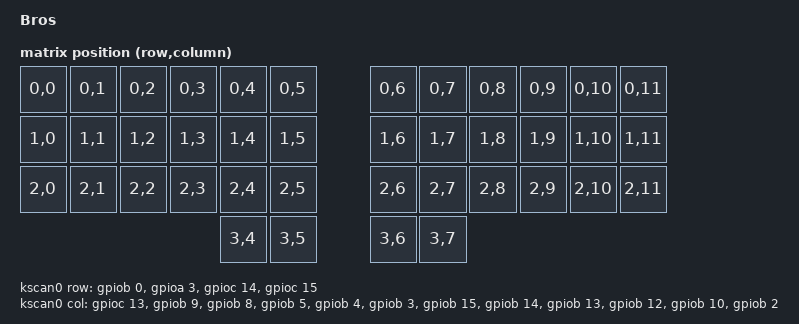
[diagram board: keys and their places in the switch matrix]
/*
 * Copyright (c) 2022 Bluebell Keyboards
 *
 * SPDX-License-Identifier: MIT
 */

/dts-v1/;
#include <st/f4/stm32f401Xc.dtsi>
#include <st/f4/stm32f401c(b-c)ux-pinctrl.dtsi>

#include <dt-bindings/zmk/matrix_transform.h>
#include <dt-bindings/led/led.h>

/ {
	model = "Bros";
	compatible = "bluebell,bros", "st,stm32f401";

	chosen {
		zephyr,sram = &sram0;
		zephyr,flash = &flash0;
		zephyr,code-partition = &code_partition;
		zephyr,console = &cdc_acm_uart;
		zmk,kscan = &kscan0;
		zmk,matrix_transform = &transform;
                zmk,underglow = &led_strip;
	};

	transform: transform {
		compatible = "zmk,matrix-transform";
		rows = <4>;
		columns = <12>;

		map = <
		RC(0,0) RC(0,1) RC(0,2) RC(0,3) RC(0,4) RC(0,5) RC(0,6) RC(0,7) RC(0,8) RC(0,9) RC(0,10) RC(0,11)
		RC(1,0) RC(1,1) RC(1,2) RC(1,3) RC(1,4) RC(1,5) RC(1,6) RC(1,7) RC(1,8) RC(1,9) RC(1,10) RC(1,11)
		RC(2,0) RC(2,1) RC(2,2) RC(2,3) RC(2,4) RC(2,5) RC(2,6) RC(2,7) RC(2,8) RC(2,9) RC(2,10) RC(2,11)
		                                RC(3,4) RC(3,5) RC(3,6) RC(3,7)
		>;
	};

	kscan0: kscan_0 {
		compatible = "zmk,kscan-gpio-matrix";
		label = "KSCAN";
		diode-direction = "col2row";

		col-gpios
		= <&gpioc 13 (GPIO_ACTIVE_HIGH)>
		, <&gpiob  9 (GPIO_ACTIVE_HIGH)>
		, <&gpiob  8 (GPIO_ACTIVE_HIGH)>
		, <&gpiob  5 (GPIO_ACTIVE_HIGH)>
		, <&gpiob  4 (GPIO_ACTIVE_HIGH)>
		, <&gpiob  3 (GPIO_ACTIVE_HIGH)>
		, <&gpiob 15 (GPIO_ACTIVE_HIGH)>
		, <&gpiob 14 (GPIO_ACTIVE_HIGH)>
		, <&gpiob 13 (GPIO_ACTIVE_HIGH)>
		, <&gpiob 12 (GPIO_ACTIVE_HIGH)>
		, <&gpiob 10 (GPIO_ACTIVE_HIGH)>
		, <&gpiob  2 (GPIO_ACTIVE_HIGH)>
		;
		row-gpios
		= <&gpiob  0 (GPIO_ACTIVE_HIGH | GPIO_PULL_DOWN)>
		, <&gpioa  3 (GPIO_ACTIVE_HIGH | GPIO_PULL_DOWN)>
		, <&gpioc 14 (GPIO_ACTIVE_HIGH | GPIO_PULL_DOWN)>
		, <&gpioc 15 (GPIO_ACTIVE_HIGH | GPIO_PULL_DOWN)>
		;
	};
};

&i2c1 {
	pinctrl-0 = <&i2c1_scl_pb6 &i2c1_sda_pb7>;
};

&spi1 {

	pinctrl-0 = <&spi1_sck_pa5 &spi1_miso_pa6 &spi1_mosi_pa7>;
	pinctrl-names = "default";
        status = "okay";

        led_strip: ws2812@0 {
                compatible = "worldsemi,ws2812-spi";
                label = "WS2812";

                /* SPI */
                reg = <0>;
                spi-max-frequency = <5250000>;

                /* WS2812 */
                chain-length = <48>; /* number of LEDs */
                spi-one-frame = <0x70>; /* make sure to configure this properly for your SOC */
                spi-zero-frame = <0x40>; /* make sure to configure this properly for your SOC */
                color-mapping = <LED_COLOR_ID_GREEN
                                 LED_COLOR_ID_RED
                                 LED_COLOR_ID_BLUE>;
        };
};

&usbotg_fs {
	pinctrl-0 = <&usb_otg_fs_dm_pa11 &usb_otg_fs_dp_pa12>;
	pinctrl-names = "default";
	status = "okay";
	cdc_acm_uart: cdc_acm_uart {
		compatible = "zephyr,cdc-acm-uart";
		label = "CDC_ACM_0";
	};
};

&rtc {
	status = "okay";
};

&dma2 {
	status = "okay";
};

&dma1 {
	status = "okay";
};

&clk_hse {
	status = "okay";
	clock-frequency = <DT_FREQ_M(8)>;
};

&pll {
	div-m = <8>;
	mul-n = <336>;
	div-p = <4>;
	div-q = <7>;
	clocks = <&clk_hse>;
	status = "okay";
};

&rcc {
	clocks = <&pll>;
	clock-frequency = <DT_FREQ_M(84)>;
	ahb-prescaler = <1>;
	apb1-prescaler = <2>;
	apb2-prescaler = <1>;
};

&usart1 {
	pinctrl-0 = <&usart1_tx_pb6 &usart1_tx_pb6>;
	pinctrl-names = "default";
	single-wire;
	current-speed = <115200>;
	dmas = <&dma2 7 4 0x28440 0x3  &dma2 2 4 0x28480 0x3>;
	dma-names = "tx", "rx";
	status = "disabled";
};

&usart2 {
	pinctrl-0 = <&usart2_tx_pa2 &usart2_tx_pa2>;
	pinctrl-names = "default";
	single-wire;
	current-speed = <115200>;
	dmas = <&dma1 6 4 0x28440 0x3  &dma1 5 4 0x28480 0x3>;
	dma-names = "tx", "rx";
	status = "disabled";
};

&flash0 {
	/*
	 * For more information, see:
	 * http://docs.zephyrproject.org/latest/guides/dts/index.html#flash-partitions
	 */
	partitions {
		compatible = "fixed-partitions";
		#address-cells = <1>;
		#size-cells = <1>;

		boot_partition: partition@0 {
			label = "tinyuf2_boot";
			reg = <0x00000000 0x00008000>;
			read-only;
		};

		storage_partition: partition@8000 {
		   label = "storage";
		   reg = <0x00008000 0x00008000>;
	   };

		code_partition: partition@10000 {
			label = "code_partition";
			reg = <0x00010000 0x00030000>;
		};
	};
};
